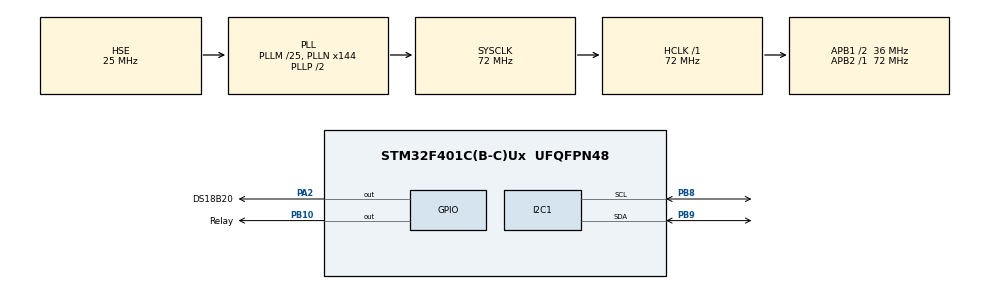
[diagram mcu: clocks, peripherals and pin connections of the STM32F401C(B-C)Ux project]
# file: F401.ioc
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FREERTOS.HEAP_NUMBER=1
FREERTOS.INCLUDE_vTaskDelayUntil=1
FREERTOS.Tasks01=defaultTask,0,128,StartDefaultTask,Default,NULL,Dynamic,NULL,NULL;myTask02,0,256,mainTask,Default,NULL,Dynamic,NULL,NULL
IWDG.Prescaler=IWDG_PRESCALER_64
Mcu.Family=STM32F4
Mcu.Name=STM32F401C(B-C)Ux
Mcu.Package=UFQFPN48
NVIC.I2C1_ER_IRQn=true\:5\:0\:false\:false\:true\:true\:true\:true
NVIC.I2C1_EV_IRQn=true\:5\:0\:false\:false\:true\:true\:true\:true
NVIC.PriorityGroup=NVIC_PRIORITYGROUP_4
NVIC.TIM4_IRQn=true\:0\:0\:false\:false\:true\:false\:false\:true
NVIC.TimeBase=TIM4_IRQn
NVIC.TimeBaseIP=TIM4
PA13.Mode=Serial_Wire
PA13.Signal=SYS_JTMS-SWDIO
PA14.Mode=Serial_Wire
PA14.Signal=SYS_JTCK-SWCLK
PA2.GPIO_Label=DS18B20
PA2.GPIO_Speed=GPIO_SPEED_FREQ_HIGH
PA2.Signal=GPIO_Output
PB10.GPIO_Label=Relay
PB10.GPIO_ModeDefaultOutputPP=GPIO_MODE_OUTPUT_PP
PB10.GPIO_PuPd=GPIO_PULLUP
PB10.PinState=GPIO_PIN_SET
PB10.Signal=GPIO_Output
PB8.Mode=I2C
PB8.Signal=I2C1_SCL
PB9.Mode=I2C
PB9.Signal=I2C1_SDA
PH0\ -\ OSC_IN.Mode=HSE-External-Oscillator
PH0\ -\ OSC_IN.Signal=RCC_OSC_IN
PH1\ -\ OSC_OUT.Mode=HSE-External-Oscillator
PH1\ -\ OSC_OUT.Signal=RCC_OSC_OUT
ProjectManager.HeapSize=0x200
ProjectManager.StackSize=0x400
ProjectManager.TargetToolchain=MDK-ARM V5.27
RCC.48MHZClocksFreq_Value=36000000
RCC.AHBFreq_Value=72000000
RCC.APB1CLKDivider=RCC_HCLK_DIV2
RCC.APB1Freq_Value=36000000
RCC.APB1TimFreq_Value=72000000
RCC.APB2Freq_Value=72000000
RCC.APB2TimFreq_Value=72000000
RCC.CortexFreq_Value=72000000
RCC.HCLKFreq_Value=72000000
RCC.HSE_VALUE=25000000
RCC.HSI_VALUE=16000000
RCC.LSE_VALUE=32768
RCC.PLLM=25
RCC.PLLN=144
RCC.PLLSourceVirtual=RCC_PLLSOURCE_HSE
RCC.SYSCLKFreq_VALUE=72000000
RCC.SYSCLKSource=RCC_SYSCLKSOURCE_PLLCLK
RCC.VCOOutputFreq_Value=144000000
TIM1.Period=0xFFFF
TIM1.Prescaler=71
VP_FREERTOS_VS_CMSIS_V1.Mode=CMSIS_V1
VP_IWDG_VS_IWDG.Mode=IWDG_Activate
VP_RTC_VS_RTC_Activate.Mode=RTC_Enabled
VP_SYS_VS_tim4.Mode=TIM4
VP_TIM1_VS_ClockSourceINT.Mode=Internal
board=custom

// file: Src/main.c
/* USER CODE BEGIN Header */
/**
  ******************************************************************************
  * @file           : main.c
  * @brief          : Main program body
  ******************************************************************************
  * @attention
  *
  * <h2><center>&copy; Copyright (c) 2021 STMicroelectronics.
  * All rights reserved.</center></h2>
  *
  * This software component is licensed by ST under BSD 3-Clause license,
  * the "License"; You may not use this file except in compliance with the
  * License. You may obtain a copy of the License at:
  *                        opensource.org/licenses/BSD-3-Clause
  *
  ******************************************************************************
  */
/* USER CODE END Header */

#include "main.h"
#include "cmsis_os.h"
#include "i2c.h"
#include "iwdg.h"
#include "rtc.h"
#include "tim.h"
#include "gpio.h"

void SystemClock_Config(void);
void MX_FREERTOS_Init(void);

int main(void)
{

  /* MCU Configuration--------------------------------------------------------*/

  /* Reset of all peripherals, Initializes the Flash interface and the Systick. */
  HAL_Init();

  /* Configure the system clock */
  SystemClock_Config();

  /* Initialize all configured peripherals */
  MX_GPIO_Init();
  MX_I2C1_Init();
  //MX_IWDG_Init();
  MX_TIM1_Init();
  MX_RTC_Init();

  /* Call init function for freertos objects (in freertos.c) */
  MX_FREERTOS_Init();
  /* Start scheduler */
  osKernelStart();

  /* We should never get here as control is now taken by the scheduler */
  /* Infinite loop */
  while (1)
  {

  }
}

void SystemClock_Config(void)
{
  RCC_OscInitTypeDef RCC_OscInitStruct = {0};
  RCC_ClkInitTypeDef RCC_ClkInitStruct = {0};
  RCC_PeriphCLKInitTypeDef PeriphClkInitStruct = {0};

  /** Configure the main internal regulator output voltage
  */
  __HAL_RCC_PWR_CLK_ENABLE();
  __HAL_PWR_VOLTAGESCALING_CONFIG(PWR_REGULATOR_VOLTAGE_SCALE2);
  /** Initializes the CPU, AHB and APB busses clocks
  */
  RCC_OscInitStruct.OscillatorType = RCC_OSCILLATORTYPE_LSI|RCC_OSCILLATORTYPE_HSE;
  RCC_OscInitStruct.HSEState = RCC_HSE_ON;
  RCC_OscInitStruct.LSIState = RCC_LSI_ON;
  RCC_OscInitStruct.PLL.PLLState = RCC_PLL_ON;
  RCC_OscInitStruct.PLL.PLLSource = RCC_PLLSOURCE_HSE;
  RCC_OscInitStruct.PLL.PLLM = 25;
  RCC_OscInitStruct.PLL.PLLN = 144;
  RCC_OscInitStruct.PLL.PLLP = RCC_PLLP_DIV2;
  RCC_OscInitStruct.PLL.PLLQ = 4;
  if (HAL_RCC_OscConfig(&RCC_OscInitStruct) != HAL_OK)
  {
    Error_Handler();
  }
  /** Initializes the CPU, AHB and APB busses clocks
  */
  RCC_ClkInitStruct.ClockType = RCC_CLOCKTYPE_HCLK|RCC_CLOCKTYPE_SYSCLK
                              |RCC_CLOCKTYPE_PCLK1|RCC_CLOCKTYPE_PCLK2;
  RCC_ClkInitStruct.SYSCLKSource = RCC_SYSCLKSOURCE_PLLCLK;
  RCC_ClkInitStruct.AHBCLKDivider = RCC_SYSCLK_DIV1;
  RCC_ClkInitStruct.APB1CLKDivider = RCC_HCLK_DIV2;
  RCC_ClkInitStruct.APB2CLKDivider = RCC_HCLK_DIV1;

  if (HAL_RCC_ClockConfig(&RCC_ClkInitStruct, FLASH_LATENCY_2) != HAL_OK)
  {
    Error_Handler();
  }
  PeriphClkInitStruct.PeriphClockSelection = RCC_PERIPHCLK_RTC;
  PeriphClkInitStruct.RTCClockSelection = RCC_RTCCLKSOURCE_LSI;
  if (HAL_RCCEx_PeriphCLKConfig(&PeriphClkInitStruct) != HAL_OK)
  {
    Error_Handler();
  }
}

 /**
  * @brief  Period elapsed callback in non blocking mode
  * @note   This function is called  when TIM4 interrupt took place, inside
  * HAL_TIM_IRQHandler(). It makes a direct call to HAL_IncTick() to increment
  * a global variable "uwTick" used as application time base.
  * @param  htim : TIM handle
  * @retval None
  */
void HAL_TIM_PeriodElapsedCallback(TIM_HandleTypeDef *htim)
{
  if (htim->Instance == TIM4) {
    HAL_IncTick();
  }
}

void Error_Handler(void)
{
}

/************************ (C) COPYRIGHT STMicroelectronics *****END OF FILE****/

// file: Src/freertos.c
/* USER CODE BEGIN Header */
/**
  ******************************************************************************
  * File Name          : freertos.c
  * Description        : Code for freertos applications
  ******************************************************************************
  * @attention
  *
  * <h2><center>&copy; Copyright (c) 2021 STMicroelectronics.
  * All rights reserved.</center></h2>
  *
  * This software component is licensed by ST under Ultimate Liberty license
  * SLA0044, the "License"; You may not use this file except in compliance with
  * the License. You may obtain a copy of the License at:
  *                             www.st.com/SLA0044
  *
  ******************************************************************************
  */
/* USER CODE END Header */

#include "FreeRTOS.h"
#include "task.h"
#include "main.h"
#include "cmsis_os.h"

/* USER CODE BEGIN Includes */
#include "lcd_i2c_pcf8574.h"
#include "ds18b20.h"
#include "stdio.h"

/* USER CODE END Includes */

/* USER CODE BEGIN PTD */
void PrintNasosON(void);
void PrintNasosOFF(void);
void PrintAlarm(void);
void PrintTemp(void);
/* USER CODE END PTD */

/* USER CODE BEGIN Variables */
float TempKot;
/* USER CODE END Variables */
osThreadId defaultTaskHandle;
osThreadId myTask02Handle;

/* USER CODE BEGIN FunctionPrototypes */
extern I2C_HandleTypeDef hi2c1;
extern IWDG_HandleTypeDef hiwdg;
/* USER CODE END FunctionPrototypes */

void StartDefaultTask(void const * argument);
void mainTask(void const * argument);

void MX_FREERTOS_Init(void); /* (MISRA C 2004 rule 8.1) */

/* GetIdleTaskMemory prototype (linked to static allocation support) */
void vApplicationGetIdleTaskMemory( StaticTask_t **ppxIdleTaskTCBBuffer, StackType_t **ppxIdleTaskStackBuffer, uint32_t *pulIdleTaskStackSize );

/* USER CODE BEGIN GET_IDLE_TASK_MEMORY */
static StaticTask_t xIdleTaskTCBBuffer;
static StackType_t xIdleStack[configMINIMAL_STACK_SIZE];

void vApplicationGetIdleTaskMemory( StaticTask_t **ppxIdleTaskTCBBuffer, StackType_t **ppxIdleTaskStackBuffer, uint32_t *pulIdleTaskStackSize )
{
  *ppxIdleTaskTCBBuffer = &xIdleTaskTCBBuffer;
  *ppxIdleTaskStackBuffer = &xIdleStack[0];
  *pulIdleTaskStackSize = configMINIMAL_STACK_SIZE;
  /* place for user code */
}
/* USER CODE END GET_IDLE_TASK_MEMORY */

void MX_FREERTOS_Init(void) {

  /* Create the thread(s) */
  /* definition and creation of defaultTask */
  osThreadDef(defaultTask, StartDefaultTask, osPriorityNormal, 0, 128);
  defaultTaskHandle = osThreadCreate(osThread(defaultTask), NULL);

  /* definition and creation of myTask02 */
  osThreadDef(myTask02, mainTask, osPriorityNormal, 0, 256);
  myTask02Handle = osThreadCreate(osThread(myTask02), NULL);

}

void StartDefaultTask(void const * argument)
{
  /* USER CODE BEGIN StartDefaultTask */
	Ds18b20_Init(osPriorityRealtime);

  /* Infinite loop */
  for(;;)
  {
		osDelay(14400000);
		NVIC_SystemReset();
  }
  /* USER CODE END StartDefaultTask */
}

void mainTask(void const * argument)
{
  /* USER CODE BEGIN mainTask */
	char stringForLcd[16];
	uint8_t nasosFlag = 1;

	lcd_Init();
	lcd_SendString((char*)"Termostat-v3.2");
	lcd_SetCursor(0, 1);
	lcd_SendString((char*)"F401-FreeRTOS");
	vTaskDelay(2000);
	lcd_Clearscreen();
//	if(RTC->BKP0R == 0) {
//		RTC->BKP0R = 1;
//		HAL_NVIC_SystemReset();
//	}
  /* Infinite loop */
  for(;;)
  {
	//HAL_IWDG_Refresh(&hiwdg);
	TempKot = (!ds18b20[0].DataIsValid) ? 0 : ds18b20[0].Temperature;             	//get t from sensor 1
	lcd_SetCursor(0, 0);
	if(TempKot == 0) {
		NASOS_ON;
		nasosFlag = 1;
		PrintAlarm();
		lcd_SetCursor(0, 1);
		PrintNasosON();
		osDelay(3000);
		continue;
	}

	if((TempKot >= 1) && (TempKot <= 60) && (nasosFlag == 1)) {
		NASOS_OFF;
		nasosFlag = 0;
		PrintTemp();
		lcd_SetCursor(0, 1);
		PrintNasosOFF();
	}
	if((TempKot >= 61) && (nasosFlag == 0)) {
		NASOS_ON;
		nasosFlag = 1;
		PrintTemp();
		lcd_SetCursor(0, 1);
		PrintNasosON();
	}
	lcd_SetCursor(4, 0);
	sprintf(stringForLcd, " = %.1f  ", TempKot);
	lcd_SendString(stringForLcd);

    osDelay(1000);
  }
  /* USER CODE END mainTask */
}

/* USER CODE BEGIN Application */
uint8_t symL[8]   = { 0x0F, 0x05, 0x05, 0x05, 0x05, 0x15, 0x09 }; 		// Л
uint8_t symY[8] = { 0x11, 0x11, 0x11, 0x19, 0x15, 0x15, 0x19, 0x00};	// Ы
uint8_t symI[8]   = { 0x11, 0x11, 0x13, 0x15, 0x19, 0x11, 0x11 }; 		// И
uint8_t symJA[8]  = { 0x0F, 0x11, 0x11, 0x0F, 0x05, 0x09, 0x11 }; 		// Я
uint8_t symP[8]   = { 0x1F, 0x11, 0x11, 0x11, 0x11, 0x11, 0x11 }; 		// П

void PrintNasosON(void) {

	lcd_SendString((char*)"HACOC BK   ");
	lcdLoadCustomChar(0, symL);
	lcd_SetCursor(8, 1);
	lcd_data(0);
}
void PrintNasosOFF(void) {

	lcd_SendString((char*)"HACOC B   ");
	lcdLoadCustomChar(1, symY);
	lcd_SetCursor(7, 1);
	lcd_data(1);
	lcd_SetCursor(8, 1);
	lcd_SendString((char*)"K");
	lcdLoadCustomChar(2, symL);
	lcd_SetCursor(9, 1);
	lcd_data(2);
}
void PrintAlarm(void) {

	lcd_SendString((char*)"ABAP          ");
	lcdLoadCustomChar(3, symI);
	lcd_SetCursor(4, 0);
	lcd_data(3);
	lcdLoadCustomChar(4, symJA);
	lcd_SetCursor(5, 0);
	lcd_data(4);
}
void PrintTemp(void) {

	lcd_SendString((char*)"TEM        ");
	lcdLoadCustomChar(5, symP);
	lcd_SetCursor(3, 0);
	lcd_data(5);
}
/* USER CODE END Application */

/************************ (C) COPYRIGHT STMicroelectronics *****END OF FILE****/
